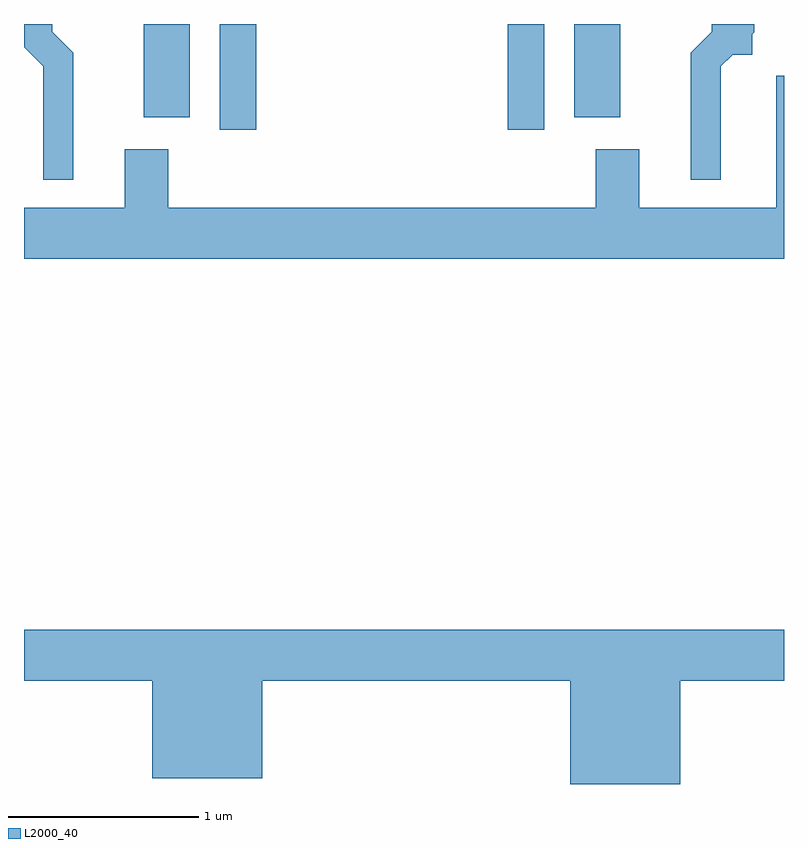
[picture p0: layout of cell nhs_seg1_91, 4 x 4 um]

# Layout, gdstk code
import gdstk
lib = gdstk.Library(unit=1e-6, precision=1e-09)
def R(c, l, rs):  # rectangles x0, y0, x1, y1
    for r in rs: c.add(gdstk.rectangle(r[:2], r[2:], *l))
def P(c, l, *ps):  # polygons
    for p in ps: c.add(gdstk.Polygon(p, *l))
L2000_40 = (2000, 40)

nhs_seg1_91 = lib.new_cell('nhs_seg1_91')
R(nhs_seg1_91, L2000_40, [(188.641,889.156,188.834,889.712), (190.156,889.156,190.349,889.712), (188.241,889.221,188.484,889.712), (190.506,889.221,190.749,889.712)])
P(nhs_seg1_91, L2000_40, [(187.869,889.562),(187.759,889.672),(187.759,889.712),(187.611,889.712),(187.611,889.589),(187.711,889.489),(187.711,888.893),(187.869,888.893)],
  [(191.279,889.489),(191.342,889.551),(191.444,889.551),(191.444,889.659),(191.454,889.669),(191.454,889.712),(191.231,889.712),(191.231,889.672),(191.121,889.562),(191.121,888.893),(191.279,888.893)],
  [(191.611,889.439),(191.571,889.439),(191.571,888.744),(190.849,888.744),(190.849,889.054),(190.621,889.054),(190.621,888.744),(188.369,888.744),(188.369,889.054),(188.141,889.054),(188.141,888.744),(187.611,888.744),(187.611,888.476),(191.611,888.476)],
  [(191.064,886.256),(191.611,886.256),(191.611,886.524),(187.611,886.524),(187.611,886.256),(188.286,886.256),(188.286,885.741),(188.864,885.741),(188.864,886.256),(190.486,886.256),(190.486,885.712),(191.064,885.712)])

lib.write_gds('nhs_seg1_91.gds')
